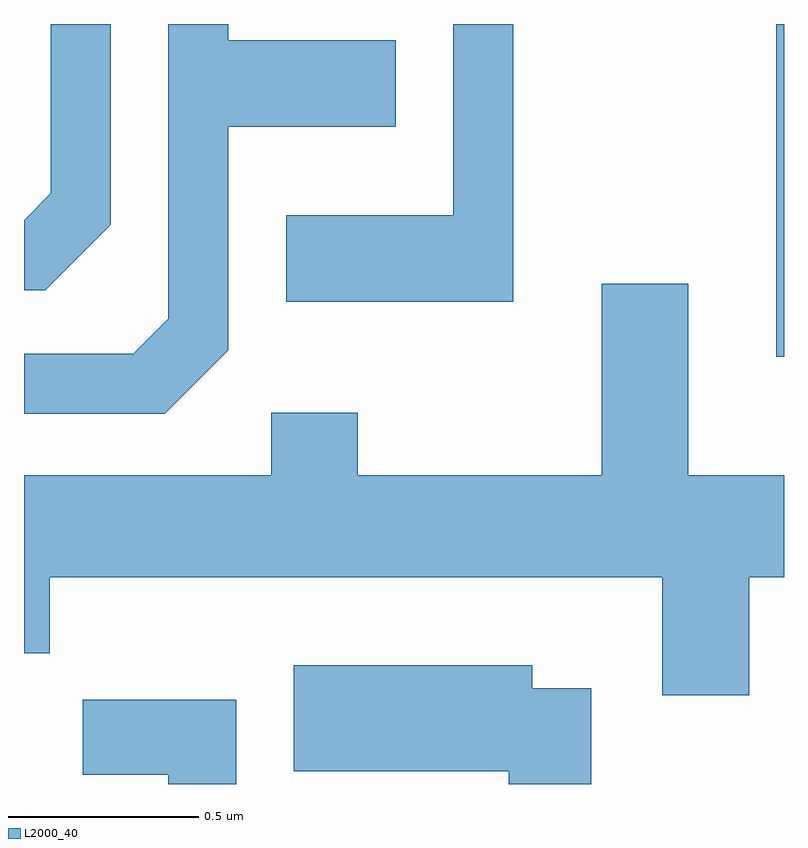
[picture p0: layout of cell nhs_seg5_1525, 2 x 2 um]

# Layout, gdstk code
import gdstk
lib = gdstk.Library(unit=1e-6, precision=1e-09)
def R(c, l, rs):  # rectangles x0, y0, x1, y1
    for r in rs: c.add(gdstk.rectangle(r[:2], r[2:], *l))
def P(c, l, *ps):  # polygons
    for p in ps: c.add(gdstk.Polygon(p, *l))
L2000_40 = (2000, 40)

nhs_seg5_1525 = lib.new_cell('nhs_seg5_1525')
R(nhs_seg5_1525, L2000_40, [(198.591,1415.196,198.611,1416.072)])
P(nhs_seg5_1525, L2000_40, [(196.839,1415.544),(196.839,1416.072),(196.681,1416.072),(196.681,1415.627),(196.611,1415.556),(196.611,1415.371),(196.667,1415.371)],
  [(197.899,1416.072),(197.741,1416.072),(197.741,1415.569),(197.301,1415.569),(197.301,1415.341),(197.899,1415.341)],
  [(197.149,1415.214),(197.149,1415.801),(197.589,1415.801),(197.589,1416.029),(197.149,1416.029),(197.149,1416.072),(196.991,1416.072),(196.991,1415.297),(196.899,1415.204),(196.611,1415.204),(196.611,1415.046),(196.982,1415.046)],
  [(198.519,1414.616),(198.611,1414.616),(198.611,1414.884),(198.359,1414.884),(198.359,1415.389),(198.131,1415.389),(198.131,1414.884),(197.489,1414.884),(197.489,1415.049),(197.261,1415.049),(197.261,1414.884),(196.611,1414.884),(196.611,1414.416),(196.679,1414.416),(196.679,1414.616),(198.291,1414.616),(198.291,1414.306),(198.519,1414.306)],
  [(198.104,1414.324),(197.949,1414.324),(197.949,1414.384),(197.321,1414.384),(197.321,1414.106),(197.886,1414.106),(197.886,1414.072),(198.104,1414.072)],
  [(197.169,1414.294),(196.766,1414.294),(196.766,1414.096),(196.991,1414.096),(196.991,1414.072),(197.169,1414.072)])

lib.write_gds('nhs_seg5_1525.gds')
